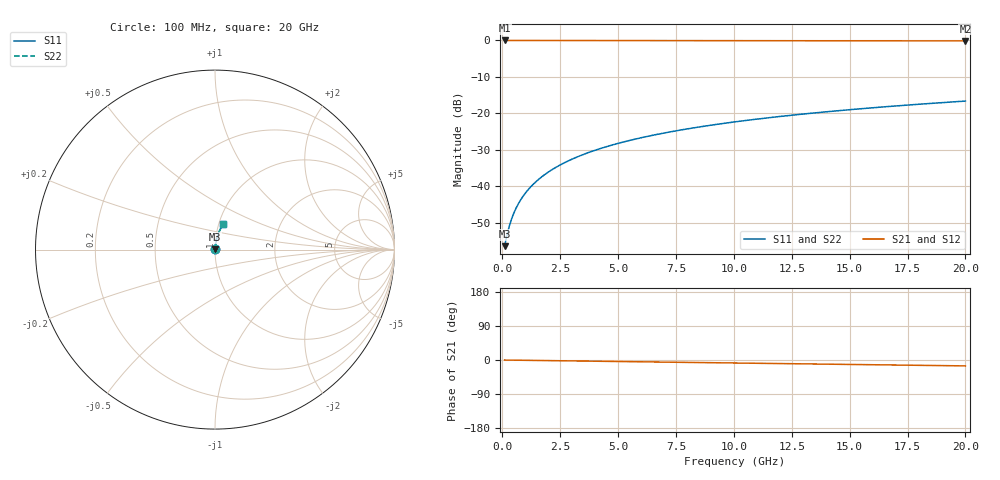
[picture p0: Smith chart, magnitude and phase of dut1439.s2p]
! Touchstone file exported from HFSS 2026.1.0
!  File:  C:/ffzhzh/LocalFiles/Ansys_Project_Files/temp_train_TMRDL_1439_1783167013_18472.aedt
!  Generated:  08:11:25 PM Jul  4, 2026
!  Design:  TMRDL
!  Project:  temp_train_TMRDL_1439_1783167013_18472
! Variables:
!  h_bsmrdl = 2um
!  h_ox = 20um
!  h_rdl = 5um
!  h_sub = 80um
!  h_tmrdl = 3.36um
!  h_tsv = 80um
!  h_via = 3um
!  l_bsmrdl = 300um
!  l_sub = 601.73um
!  l_tmrdl = 201.73um
!  m_sub = 200um
!  pitch = 41.67um
!  r_tsv = 6um
!  s_tmrdl = 10um
!  w_bsmrdl = 18um
!  w_sub = 500um
!  w_tmrdl = 21.06um
!  x_tsv_center1 = 212.26um
!  x_tsv_center2 = 530.26um
!  x_tsv_center3 = 753.05um
!  x_tsv_center4 = 1071.05um
!  x_tsv_center5 = 1293.84um
!  x_tsv_center6 = 1611.84um
# GHz S MA R 50.000000
! Terminal data exported
! Port[1] = TM_RDL1_1_T1
! Port[2] = TM_RDL1_1_T2
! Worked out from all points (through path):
!   200 points, 100 MHz to 20 GHz, reference 50 ohm
!   highest |S21| = -0.01 dB at 100 MHz (marker M1); lowest = -0.1 dB at 20 GHz (marker M2)
!   group delay of S21, straight-line fit = 2.16 ps
!   lowest |S11| = -56.4 dB at 100 MHz (marker M3), VSWR 1.00, Z = 50.1 + j0.0868 ohm
!   |S11| at or under -10 dB: start of sweep to end of sweep
!   |S22| runs from -56.4 to -16.6 dB; largest |S21 - S12| = 3e-15
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0.1  0.001513 34.9  0.9988 -0.1  0.9988 -0.1  0.001513 34.9
! Gamma 0 0 0 0
! Port Impedance 50 0 50 0
0.2  0.002134 52.5  0.9987 -0.2  0.9987 -0.2  0.002134 52.5
0.3  0.002836 61.5  0.9986 -0.3  0.9986 -0.3  0.002837 61.5
0.4  0.003565 66.8  0.9986 -0.3  0.9986 -0.3  0.003566 66.8
0.5  0.004309 70.4  0.9985 -0.4  0.9985 -0.4  0.004309 70.4
0.6  0.00506 72.9  0.9985 -0.5  0.9985 -0.5  0.00506 72.9
0.8  0.006577 76.2  0.9984 -0.6  0.9984 -0.6  0.006576 76.2
1.1  0.008869 79.0  0.9984 -0.9  0.9984 -0.9  0.008868 79.0
1.5  0.01194 81.0  0.9983 -1.2  0.9983 -1.2  0.01194 81.0
1.8  0.01425 81.9  0.9982 -1.4  0.9982 -1.4  0.01425 81.9
2.1  0.01656 82.4  0.9982 -1.7  0.9982 -1.7  0.01656 82.4
2.7  0.02118 82.9  0.998 -2.2  0.998 -2.2  0.02118 82.9
3.5  0.02733 83.1  0.9977 -2.8  0.9977 -2.8  0.02733 83.1
4.2  0.0327 83.0  0.9974 -3.4  0.9974 -3.4  0.0327 83.0
5  0.0388 82.7  0.997 -4.0  0.997 -4.0  0.0388 82.7
5.9  0.04562 82.2  0.9965 -4.7  0.9965 -4.7  0.04562 82.2
6.8  0.0524 81.7  0.9959 -5.4  0.9959 -5.4  0.0524 81.7
8.3  0.06359 80.7  0.9949 -6.6  0.9949 -6.6  0.0636 80.7
10.1  0.07688 79.5  0.9936 -8.0  0.9936 -8.0  0.07688 79.5
13.4  0.1008 77.2  0.9908 -10.5  0.9908 -10.5  0.1008 77.1
16.7  0.1244 74.8  0.9876 -13.1  0.9876 -13.1  0.1244 74.8
20  0.1474 72.5  0.984 -15.6  0.984 -15.6  0.1474 72.5
